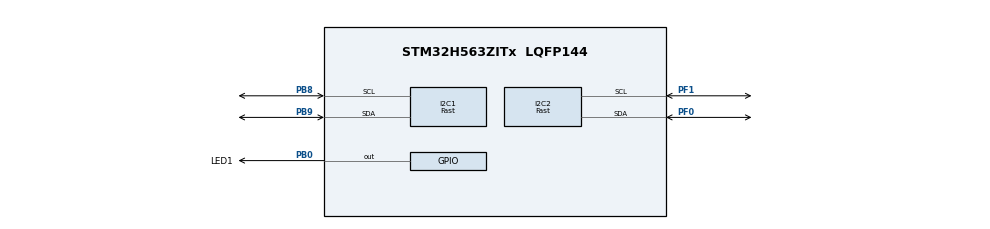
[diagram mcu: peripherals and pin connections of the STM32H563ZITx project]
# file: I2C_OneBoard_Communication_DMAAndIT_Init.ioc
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CORTEX_M33_NS.userName=CORTEX_M33
GPDMA1.CIRCULARMODE_GPDMACH0=DISABLE
GPDMA1.DESTINC_GPDMACH0=DMA_DINC_FIXED
GPDMA1.DIRECTION_GPDMACH0=DMA_MEMORY_TO_PERIPH
GPDMA1.IPHANDLE_GPDMACH0-SIMPLEREQUEST_GPDMACH0=__NULL
GPDMA1.LINKALLOCATEDPORT_CIRCULAR_GPDMACH0=DMA_LINK_ALLOCATED_PORT0
GPDMA1.PRIORITY_GPDMACH0=DMA_LOW_PRIORITY_LOW_WEIGHT
GPDMA1.REQUEST_GPDMACH0=GPDMA1_REQUEST_I2C2_TX
GPDMA1.SRCINC_GPDMACH0=DMA_SINC_INCREMENTED
I2C1.AddressingMode=I2C_ADDRESSINGMODE_7BIT
I2C1.Analog_Filter=I2C_ANALOGFILTER_ENABLE
I2C1.DualAddressMode=I2C_DUALADDRESS_DISABLE
I2C1.GeneralCallMode=I2C_GENERALCALL_DISABLE
I2C1.I2C_Coeff_DF=0x0
I2C1.I2C_Fall_Time=10
I2C1.I2C_Rise_Time=100
I2C1.I2C_Speed_Mode=I2C_Fast
I2C1.NoStretchMode=I2C_NOSTRETCH_DISABLE
I2C1.OwnAddress=0x5a
I2C1.Speed=400
I2C1.Timing=0x20F02C88
I2C2.AddressingMode=I2C_ADDRESSINGMODE_7BIT
I2C2.Analog_Filter=I2C_ANALOGFILTER_ENABLE
I2C2.DualAddressMode=I2C_DUALADDRESS_DISABLE
I2C2.GeneralCallMode=I2C_GENERALCALL_DISABLE
I2C2.I2C_Coeff_DF=0
I2C2.I2C_Fall_Time=10
I2C2.I2C_Rise_Time=100
I2C2.I2C_Speed_Mode=I2C_Fast
I2C2.NoStretchMode=I2C_NOSTRETCH_DISABLE
I2C2.OwnAddress=0
I2C2.Speed=400
I2C2.Timing=0x20F02C88
Mcu.Family=STM32H5
Mcu.Name=STM32H563ZITx
Mcu.Package=LQFP144
NVIC.GPDMA1_Channel0_IRQn=true\:0\:0\:false\:false\:true\:false\:true\:true
NVIC.PriorityGroup=NVIC_PRIORITYGROUP_4
PB0.GPIO_Label=LED1
PB0.Signal=GPIO_Output
PB8.GPIO_Pu=GPIO_PULLUP
PB8.GPIO_Speed=GPIO_SPEED_FREQ_HIGH
PB8.Mode=I2C
PB8.Signal=I2C1_SCL
PB9.GPIO_Pu=GPIO_PULLUP
PB9.GPIO_Speed=GPIO_SPEED_FREQ_HIGH
PB9.Mode=I2C
PB9.Signal=I2C1_SDA
PF0.GPIO_Pu=GPIO_PULLUP
PF0.GPIO_Speed=GPIO_SPEED_FREQ_HIGH
PF0.Mode=I2C
PF0.Signal=I2C2_SDA
PF1.GPIO_Pu=GPIO_PULLUP
PF1.GPIO_Speed=GPIO_SPEED_FREQ_HIGH
PF1.Mode=I2C
PF1.Signal=I2C2_SCL
PH0-OSC_IN(PH0).Mode=HSE-DIG-External-Clock-Source
PH0-OSC_IN(PH0).Signal=RCC_OSC_IN
ProjectManager.HeapSize=0x200
ProjectManager.StackSize=0x400
ProjectManager.TargetToolchain=EWARM V9.20
RCC.ADCFreq_Value=250000000
RCC.AHBFreq_Value=250000000
RCC.APB1Freq_Value=250000000
RCC.APB1TimFreq_Value=250000000
RCC.APB2Freq_Value=250000000
RCC.APB2TimFreq_Value=250000000
RCC.APB3Freq_Value=250000000
RCC.CSI_VALUE=4000000
RCC.CortexFreq_Value=250000000
RCC.EPOD_VALUE=8000000
RCC.HCLKFreq_Value=250000000
RCC.HSE_VALUE=8000000
RCC.HSI48_VALUE=48000000
RCC.HSIDiv=RCC_HSI_DIV1
RCC.HSI_VALUE=64000000
RCC.LSE_VALUE=32768
RCC.LSIRC_VALUE=32000
RCC.PLLM=4
RCC.PLLN=250
RCC.PLLSourceVirtual=RCC_PLL1_SOURCE_HSE
RCC.SYSCLKFreq_VALUE=250000000
RCC.SYSCLKSource=RCC_SYSCLKSOURCE_PLLCLK
RCC.USBFreq_Value=48000000
RCC.VCOOutputFreq_Value=500000000
VP_GPDMA1_VS_GPDMACH0.Mode=SIMPLEREQUEST_GPDMACH0
VP_ICACHE_VS_ICACHE.Mode=DefaultMode
VP_PWR_VS_SECSignals.Mode=Security/Privilege
board=custom

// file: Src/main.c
/* USER CODE BEGIN Header */
/**
  ******************************************************************************
  * @file    Examples_LL/I2C/I2C_OneBoard_Communication_DMAAndIT_Init/Src/main.c
  * @author  MCD Application Team
  * @brief   This example describes how to send/receive bytes over I2C IP using
  *          the STM32H5xx I2C LL API.
  *          Peripheral initialization done using LL unitary services functions.
  ******************************************************************************
  * @attention
  *
  * Copyright (c) 2023 STMicroelectronics.
  * All rights reserved.
  *
  * This software is licensed under terms that can be found in the LICENSE file
  * in the root directory of this software component.
  * If no LICENSE file comes with this software, it is provided AS-IS.
  *
  ******************************************************************************
  */
/* USER CODE END Header */
#include "main.h"

/* USER CODE BEGIN PD */
/**
  * @brief Timeout value
  */
#if (USE_TIMEOUT == 1)
#define DMA_SEND_TIMEOUT_TC_MS         5
#define I2C_SEND_TIMEOUT_STOP_MS       5
#endif /* USE_TIMEOUT */

/**
  * @brief I2C devices settings
  */
/* Timing register value is computed with the STM32CubeMX Tool,
  * Fast Mode @400kHz with I2CCLK = 250 MHz,
  * rise time = 100ns, fall time = 10ns
  * Timing Value = (uint32_t)0x20F02C88
  */
#define I2C_TIMING                     0x20F02C88

/* USER CODE END PD */

/* USER CODE BEGIN PV */
#if (USE_TIMEOUT == 1)
uint32_t Timeout                       = 0; /* Variable used for Timeout management */
#endif /* USE_TIMEOUT */
__IO uint8_t ubButtonPress             = 0;

/**
  * @brief Variables related to MasterTransmit process
  */
const uint8_t aLedOn[]                 = "LED ON";
__IO uint8_t  ubNbDataToTransmit       = sizeof(aLedOn);
uint8_t      *pTransmitBuffer          = (uint8_t *)aLedOn;
__IO uint8_t  ubTransferComplete       = 0;

/**
  * @brief Variables related to SlaveReceive process
  */
uint8_t      aReceiveBuffer[0xF]       = {0};
__IO uint8_t ubReceiveIndex            = 0;

/* USER CODE END PV */

void SystemClock_Config(void);
static void MX_GPIO_Init(void);
static void MX_GPDMA1_Init(void);
static void MX_I2C1_Init(void);
static void MX_I2C2_Init(void);
static void MX_ICACHE_Init(void);
/* USER CODE BEGIN PFP */
void     SystemClock_Config(void);
uint8_t  Buffercmp8(uint8_t *pBuffer1, uint8_t *pBuffer2, uint8_t BufferLength);
void     UserButton_Init(void);
void     LED_On(void);
void     LED_Off(void);
void     LED_Blinking(uint32_t Period);
void     WaitForUserButtonPress(void);
void     Handle_I2C_Master(void);

/* USER CODE END PFP */

int main(void)
{

  /* MCU Configuration--------------------------------------------------------*/

  /* Reset of all peripherals, Initializes the Flash interface and the Systick. */

  /* System interrupt init*/
  NVIC_SetPriorityGrouping(NVIC_PRIORITYGROUP_4);

  /* Configure the system clock */
  SystemClock_Config();

  /* Initialize all configured peripherals */
  MX_GPIO_Init();
  MX_GPDMA1_Init();
  MX_I2C1_Init();
  MX_I2C2_Init();
  MX_ICACHE_Init();
  /* USER CODE BEGIN 2 */
  UserButton_Init();
  /* Set LED1 Off */
  LED_Off();;

  /* Wait for USER push-button press to start transfer */
  WaitForUserButtonPress();

  /* Handle I2C2 events (Master) */
  Handle_I2C_Master();
  /* USER CODE END 2 */

  /* Infinite loop */
  while (1)
  {

  }
}

void SystemClock_Config(void)
{
  LL_FLASH_SetLatency(LL_FLASH_LATENCY_5);
  while(LL_FLASH_GetLatency()!= LL_FLASH_LATENCY_5)
  {
  }

  LL_PWR_SetRegulVoltageScaling(LL_PWR_REGU_VOLTAGE_SCALE0);
  while (LL_PWR_IsActiveFlag_VOS() == 0)
  {
  }
  LL_RCC_HSE_EnableBypass();
  LL_RCC_HSE_SetExternalClockType(LL_RCC_HSE_DIGITAL_TYPE);
  LL_RCC_HSE_Enable();

   /* Wait till HSE is ready */
  while(LL_RCC_HSE_IsReady() != 1)
  {
  }

  LL_RCC_PLL1_SetSource(LL_RCC_PLL1SOURCE_HSE);
  LL_RCC_PLL1_SetVCOInputRange(LL_RCC_PLLINPUTRANGE_2_4);
  LL_RCC_PLL1_SetVCOOutputRange(LL_RCC_PLLVCORANGE_WIDE);
  LL_RCC_PLL1_SetM(4);
  LL_RCC_PLL1_SetN(250);
  LL_RCC_PLL1_SetP(2);
  LL_RCC_PLL1_SetQ(2);
  LL_RCC_PLL1_SetR(2);
  LL_RCC_PLL1P_Enable();
  LL_RCC_PLL1_Enable();

   /* Wait till PLL is ready */
  while(LL_RCC_PLL1_IsReady() != 1)
  {
  }

  LL_RCC_SetSysClkSource(LL_RCC_SYS_CLKSOURCE_PLL1);

   /* Wait till System clock is ready */
  while(LL_RCC_GetSysClkSource() != LL_RCC_SYS_CLKSOURCE_STATUS_PLL1)
  {
  }

  LL_RCC_SetAHBPrescaler(LL_RCC_SYSCLK_DIV_1);
  LL_RCC_SetAPB1Prescaler(LL_RCC_APB1_DIV_1);
  LL_RCC_SetAPB2Prescaler(LL_RCC_APB2_DIV_1);
  LL_RCC_SetAPB3Prescaler(LL_RCC_APB3_DIV_1);

  LL_Init1msTick(250000000);

  LL_SetSystemCoreClock(250000000);
}

static void MX_GPDMA1_Init(void)
{

  /* Peripheral clock enable */
  LL_AHB1_GRP1_EnableClock(LL_AHB1_GRP1_PERIPH_GPDMA1);

  /* GPDMA1 interrupt Init */
  NVIC_SetPriority(GPDMA1_Channel0_IRQn, NVIC_EncodePriority(NVIC_GetPriorityGrouping(),0, 0));
  NVIC_EnableIRQ(GPDMA1_Channel0_IRQn);

}

static void MX_I2C1_Init(void)
{

  LL_I2C_InitTypeDef I2C_InitStruct = {0};

  LL_GPIO_InitTypeDef GPIO_InitStruct = {0};

  LL_RCC_SetI2CClockSource(LL_RCC_I2C1_CLKSOURCE_PCLK1);

  LL_AHB2_GRP1_EnableClock(LL_AHB2_GRP1_PERIPH_GPIOB);
  /**I2C1 GPIO Configuration
  PB8   ------> I2C1_SCL
  PB9   ------> I2C1_SDA
  */
  GPIO_InitStruct.Pin = LL_GPIO_PIN_8|LL_GPIO_PIN_9;
  GPIO_InitStruct.Mode = LL_GPIO_MODE_ALTERNATE;
  GPIO_InitStruct.Speed = LL_GPIO_SPEED_FREQ_HIGH;
  GPIO_InitStruct.OutputType = LL_GPIO_OUTPUT_OPENDRAIN;
  GPIO_InitStruct.Pull = LL_GPIO_PULL_UP;
  GPIO_InitStruct.Alternate = LL_GPIO_AF_4;
  LL_GPIO_Init(GPIOB, &GPIO_InitStruct);

  /* Peripheral clock enable */
  LL_APB1_GRP1_EnableClock(LL_APB1_GRP1_PERIPH_I2C1);

  /* USER CODE BEGIN I2C1_Init 1 */
  NVIC_SetPriority(I2C1_EV_IRQn, 0);
  NVIC_EnableIRQ(I2C1_EV_IRQn);
  NVIC_SetPriority(I2C1_ER_IRQn, 0);
  NVIC_EnableIRQ(I2C1_ER_IRQn);
  /* USER CODE END I2C1_Init 1 */

  /** I2C Initialization
  */
  LL_I2C_EnableAutoEndMode(I2C1);
  LL_I2C_DisableOwnAddress2(I2C1);
  LL_I2C_DisableGeneralCall(I2C1);
  LL_I2C_EnableClockStretching(I2C1);
  I2C_InitStruct.PeripheralMode = LL_I2C_MODE_I2C;
  I2C_InitStruct.Timing = 0x20F02C88;
  I2C_InitStruct.AnalogFilter = LL_I2C_ANALOGFILTER_ENABLE;
  I2C_InitStruct.DigitalFilter = 0x0;
  I2C_InitStruct.OwnAddress1 = 180;
  I2C_InitStruct.TypeAcknowledge = LL_I2C_ACK;
  I2C_InitStruct.OwnAddrSize = LL_I2C_OWNADDRESS1_7BIT;
  LL_I2C_Init(I2C1, &I2C_InitStruct);
  LL_I2C_SetOwnAddress2(I2C1, 0, LL_I2C_OWNADDRESS2_NOMASK);
  /* USER CODE BEGIN I2C1_Init 2 */
  LL_I2C_EnableIT_ADDR(I2C1);
  LL_I2C_EnableIT_NACK(I2C1);
  LL_I2C_EnableIT_ERR(I2C1);
  LL_I2C_EnableIT_STOP(I2C1);
  /* USER CODE END I2C1_Init 2 */

}

static void MX_I2C2_Init(void)
{

  LL_I2C_InitTypeDef I2C_InitStruct = {0};

  LL_GPIO_InitTypeDef GPIO_InitStruct = {0};
  LL_DMA_InitTypeDef DMA_InitStruct = {0};

  LL_RCC_SetI2CClockSource(LL_RCC_I2C2_CLKSOURCE_PCLK1);

  LL_AHB2_GRP1_EnableClock(LL_AHB2_GRP1_PERIPH_GPIOF);
  /**I2C2 GPIO Configuration
  PF0   ------> I2C2_SDA
  PF1   ------> I2C2_SCL
  */
  GPIO_InitStruct.Pin = LL_GPIO_PIN_0|LL_GPIO_PIN_1;
  GPIO_InitStruct.Mode = LL_GPIO_MODE_ALTERNATE;
  GPIO_InitStruct.Speed = LL_GPIO_SPEED_FREQ_HIGH;
  GPIO_InitStruct.OutputType = LL_GPIO_OUTPUT_OPENDRAIN;
  GPIO_InitStruct.Pull = LL_GPIO_PULL_UP;
  GPIO_InitStruct.Alternate = LL_GPIO_AF_4;
  LL_GPIO_Init(GPIOF, &GPIO_InitStruct);

  /* Peripheral clock enable */
  LL_APB1_GRP1_EnableClock(LL_APB1_GRP1_PERIPH_I2C2);

  /* I2C2 DMA Init */

  /* GPDMA1_REQUEST_I2C2_TX Init */
  DMA_InitStruct.SrcAddress = 0x00000000U;
  DMA_InitStruct.DestAddress = 0x00000000U;
  DMA_InitStruct.Direction = LL_DMA_DIRECTION_MEMORY_TO_PERIPH;
  DMA_InitStruct.BlkHWRequest = LL_DMA_HWREQUEST_SINGLEBURST;
  DMA_InitStruct.DataAlignment = LL_DMA_DATA_ALIGN_ZEROPADD;
  DMA_InitStruct.SrcBurstLength = 1;
  DMA_InitStruct.DestBurstLength = 1;
  DMA_InitStruct.SrcDataWidth = LL_DMA_SRC_DATAWIDTH_BYTE;
  DMA_InitStruct.DestDataWidth = LL_DMA_DEST_DATAWIDTH_BYTE;
  DMA_InitStruct.SrcIncMode = LL_DMA_SRC_INCREMENT;
  DMA_InitStruct.DestIncMode = LL_DMA_DEST_FIXED;
  DMA_InitStruct.Priority = LL_DMA_LOW_PRIORITY_LOW_WEIGHT;
  DMA_InitStruct.BlkDataLength = 0x00000000U;
  DMA_InitStruct.TriggerMode = LL_DMA_TRIGM_BLK_TRANSFER;
  DMA_InitStruct.TriggerPolarity = LL_DMA_TRIG_POLARITY_MASKED;
  DMA_InitStruct.TriggerSelection = 0x00000000U;
  DMA_InitStruct.Request = LL_GPDMA1_REQUEST_I2C2_TX;
  DMA_InitStruct.TransferEventMode = LL_DMA_TCEM_BLK_TRANSFER;
  DMA_InitStruct.Mode = LL_DMA_NORMAL;
  DMA_InitStruct.SrcAllocatedPort = LL_DMA_SRC_ALLOCATED_PORT0;
  DMA_InitStruct.DestAllocatedPort = LL_DMA_DEST_ALLOCATED_PORT0;
  DMA_InitStruct.LinkAllocatedPort = LL_DMA_LINK_ALLOCATED_PORT1;
  DMA_InitStruct.LinkStepMode = LL_DMA_LSM_FULL_EXECUTION;
  DMA_InitStruct.LinkedListBaseAddr = 0x00000000U;
  DMA_InitStruct.LinkedListAddrOffset = 0x00000000U;
  LL_DMA_Init(GPDMA1, LL_DMA_CHANNEL_0, &DMA_InitStruct);

  /* USER CODE BEGIN I2C2_Init 1 */
  LL_DMA_SetBlkDataLength(GPDMA1, LL_DMA_CHANNEL_0, ubNbDataToTransmit);
  LL_DMA_ConfigAddresses(GPDMA1, LL_DMA_CHANNEL_0, (uint32_t)pTransmitBuffer, (uint32_t)LL_I2C_DMA_GetRegAddr(I2C2, LL_I2C_DMA_REG_DATA_TRANSMIT));
  /* (4) Enable GPDMA1 interrupts complete/error */
  LL_DMA_EnableIT_TC(GPDMA1, LL_DMA_CHANNEL_0);
  LL_DMA_EnableIT_DTE(GPDMA1, LL_DMA_CHANNEL_0);
  /* USER CODE END I2C2_Init 1 */

  /** I2C Initialization
  */
  LL_I2C_EnableAutoEndMode(I2C2);
  LL_I2C_DisableOwnAddress2(I2C2);
  LL_I2C_DisableGeneralCall(I2C2);
  LL_I2C_EnableClockStretching(I2C2);
  I2C_InitStruct.PeripheralMode = LL_I2C_MODE_I2C;
  I2C_InitStruct.Timing = 0x20F02C88;
  I2C_InitStruct.AnalogFilter = LL_I2C_ANALOGFILTER_ENABLE;
  I2C_InitStruct.DigitalFilter = 0;
  I2C_InitStruct.OwnAddress1 = 0;
  I2C_InitStruct.TypeAcknowledge = LL_I2C_ACK;
  I2C_InitStruct.OwnAddrSize = LL_I2C_OWNADDRESS1_7BIT;
  LL_I2C_Init(I2C2, &I2C_InitStruct);
  LL_I2C_SetOwnAddress2(I2C2, 0, LL_I2C_OWNADDRESS2_NOMASK);
  /* USER CODE BEGIN I2C2_Init 2 */
  LL_I2C_EnableDMAReq_TX(I2C2);
  LL_I2C_Enable(I2C2);
  /* USER CODE END I2C2_Init 2 */

}

static void MX_ICACHE_Init(void)
{

  /** Enable instruction cache (default 2-ways set associative cache)
  */
  LL_ICACHE_Enable();

}

static void MX_GPIO_Init(void)
{
  LL_GPIO_InitTypeDef GPIO_InitStruct = {0};

  /* GPIO Ports Clock Enable */
  LL_AHB2_GRP1_EnableClock(LL_AHB2_GRP1_PERIPH_GPIOF);
  LL_AHB2_GRP1_EnableClock(LL_AHB2_GRP1_PERIPH_GPIOH);
  LL_AHB2_GRP1_EnableClock(LL_AHB2_GRP1_PERIPH_GPIOB);

  /**/
  LL_GPIO_ResetOutputPin(LED1_GPIO_Port, LED1_Pin);

  /**/
  GPIO_InitStruct.Pin = LED1_Pin;
  GPIO_InitStruct.Mode = LL_GPIO_MODE_OUTPUT;
  GPIO_InitStruct.Speed = LL_GPIO_SPEED_FREQ_LOW;
  GPIO_InitStruct.OutputType = LL_GPIO_OUTPUT_PUSHPULL;
  GPIO_InitStruct.Pull = LL_GPIO_PULL_NO;
  LL_GPIO_Init(LED1_GPIO_Port, &GPIO_InitStruct);

}

/* USER CODE BEGIN 4 */
/**
  * @brief  Compares two 8-bit buffers and returns the comparison result.
  * @param  pBuffer1: pointer to the source buffer to be compared to.
  * @param  pBuffer2: pointer to the second source buffer to be compared to the first.
  * @param  BufferLength: buffer's length.
  * @retval 0: Comparison is OK (the two Buffers are identical)
  *         Value different from 0: Comparison is NOK (Buffers are different)
  */
uint8_t Buffercmp8(uint8_t *pBuffer1, uint8_t *pBuffer2, uint8_t BufferLength)
{
  while (BufferLength--)
  {
    if (*pBuffer1 != *pBuffer2)
    {
      return 1;
    }

    pBuffer1++;
    pBuffer2++;
  }

  return 0;
}

/**
  * @brief  Turn-on LED1.
  * @param  None
  * @retval None
  */
void LED_On(void)
{
  /* Turn LED1 on */
  LL_GPIO_SetOutputPin(LED1_GPIO_Port, LED1_Pin);
}

/**
  * @brief  Turn-off LED1.
  * @param  None
  * @retval None
  */
void LED_Off(void)
{
  /* Turn LED1 off */
  LL_GPIO_ResetOutputPin(LED1_GPIO_Port, LED1_Pin);
}

/**
  * @brief  Set LED1 to Blinking mode for an infinite loop (toggle period based on value provided as input parameter).
  * @param  Period : Period of time (in ms) between each toggling of LED
  *   This parameter can be user defined values. Pre-defined values used in that example are :
  *     @arg LED_BLINK_FAST : Fast Blinking
  *     @arg LED_BLINK_SLOW : Slow Blinking
  *     @arg LED_BLINK_ERROR : Error specific Blinking
  * @retval None
  */
void LED_Blinking(uint32_t Period)
{
  /* Turn LED1 on */
  LL_GPIO_SetOutputPin(LED1_GPIO_Port, LED1_Pin);

  /* Toggle IO in an infinite loop */
  while (1)
  {
    LL_GPIO_TogglePin(LED1_GPIO_Port, LED1_Pin);
    LL_mDelay(Period);
  }
}
/**
  * @brief  Configures USER push-button in GPIO or EXTI Line Mode.
  * @param  None
  * @retval None
  */
void UserButton_Init(void)
{
  /* Enable the BUTTON Clock */
  USER_BUTTON_GPIO_CLK_ENABLE();

  /* Configure GPIO for BUTTON */
  LL_GPIO_SetPinMode(USER_BUTTON_GPIO_PORT, USER_BUTTON_PIN, LL_GPIO_MODE_INPUT);
  LL_GPIO_SetPinPull(USER_BUTTON_GPIO_PORT, USER_BUTTON_PIN, LL_GPIO_PULL_NO);

  /* Connect External Line to the GPIO*/
  USER_BUTTON_SYSCFG_SET_EXTI();

  /* Enable a Rising trigger External line 13 Interrupt */
  USER_BUTTON_EXTI_LINE_ENABLE();
  USER_BUTTON_EXTI_RISING_TRIG_ENABLE();

  /* Configure NVIC for USER_BUTTON_EXTI_IRQn */
  NVIC_SetPriority(USER_BUTTON_EXTI_IRQn, 3);
  NVIC_EnableIRQ(USER_BUTTON_EXTI_IRQn);
}
/**
  * @brief  Wait for USER push-button press to start transfer.
  * @param  None
  * @retval None
  */
/*  */
void WaitForUserButtonPress(void)
{
  while (ubButtonPress == 0)
  {
    LL_GPIO_TogglePin(LED1_GPIO_Port, LED1_Pin);
    LL_mDelay(LED_BLINK_FAST);
  }
  /* Turn LED1 off */
  LL_GPIO_ResetOutputPin(LED1_GPIO_Port, LED1_Pin);
}

/**
  * @brief  This Function handle Master events to perform a transmission process
  * @note  This function is composed in different steps :
  *        -1- Enable DMA transfer.
  *        -2- Initiate a Start condition to the Slave device.
  *        -3- Loop until end of DMA transfer completed (DMA TC raised).
  *        -4- Loop until end of master transfer completed (STOP flag raised).
  *        -5- Clear pending flags, Data consistency are checking into Slave process.
  * @param  None
  * @retval None
  */
void Handle_I2C_Master(void)
{
  /* (1) Enable DMA transfer **************************************************/
  LL_DMA_EnableChannel(GPDMA1, LL_DMA_CHANNEL_0);
  /* (2) Initiate a Start condition to the Slave device ***********************/

  /* Master Generate Start condition for a write request:
   *  - to the Slave with a 7-Bit SLAVE_OWN_ADDRESS
   *  - with a auto stop condition generation when transmit all bytes
   */
  LL_I2C_HandleTransfer(I2C2, SLAVE_OWN_ADDRESS, LL_I2C_ADDRSLAVE_7BIT, ubNbDataToTransmit, LL_I2C_MODE_AUTOEND, LL_I2C_GENERATE_START_WRITE);

  /* (3) Loop until end of transfer completed (DMA TC raised) *****************/

#if (USE_TIMEOUT == 1)
  Timeout = DMA_SEND_TIMEOUT_TC_MS;
#endif /* USE_TIMEOUT */

  /* Loop until DMA transfer complete event */
  while (!ubTransferComplete)
  {
#if (USE_TIMEOUT == 1)
    /* Check Systick counter flag to decrement the time-out value */
    if (LL_SYSTICK_IsActiveCounterFlag())
    {
      if (Timeout-- == 0)
      {
        /* Time-out occurred. Set LED to blinking mode */
        LED_Blinking(LED_BLINK_SLOW);
      }
    }
#endif /* USE_TIMEOUT */
  }

  /* (4) Loop until end of master transfer completed (STOP flag raised) *******/

#if (USE_TIMEOUT == 1)
  Timeout = I2C_SEND_TIMEOUT_STOP_MS;
#endif /* USE_TIMEOUT */

  /* Loop until STOP flag is raised  */
  while (!LL_I2C_IsActiveFlag_STOP(I2C2))
  {
#if (USE_TIMEOUT == 1)
    /* Check Systick counter flag to decrement the time-out value */
    if (LL_SYSTICK_IsActiveCounterFlag())
    {
      if (Timeout-- == 0)
      {
        /* Time-out occurred. Set LED1 to blinking mode */
        LED_Blinking(LED_BLINK_SLOW);
      }
    }
#endif /* USE_TIMEOUT */
  }

  /* (5) Clear pending flags, Data consistency are checking into Slave process */

  /* End of I2C_SlaveReceiver_MasterTransmitter_DMA Process */
  LL_I2C_ClearFlag_STOP(I2C2);
}

/******************************************************************************/
/*   IRQ HANDLER TREATMENT Functions                                          */
/******************************************************************************/
/**
  * @brief  Function to manage USER push-button
  * @param  None
  * @retval None
  */
void UserButton_Callback(void)
{
  /* Update USER push-button variable : to be checked in waiting loop in main program */
  ubButtonPress = 1;
}

/**
  * @brief  Function called from I2C IRQ Handler when RXNE flag is set
  *         Function is in charge of retrieving received byte on I2C lines.
  * @param  None
  * @retval None
  */
void Slave_Reception_Callback(void)
{
  /* Read character in Receive Data register.
  RXNE flag is cleared by reading data in RXDR register */
  aReceiveBuffer[ubReceiveIndex++] = LL_I2C_ReceiveData8(I2C1);
}

/**
  * @brief  Function called from I2C IRQ Handler when STOP flag is set
  *         Function is in charge of checking data received,
  *         LED1 is On if data are correct.
  * @param  None
  * @retval None
  */
void Slave_Complete_Callback(void)
{
  /* Check if data request to turn on the LED1 */
  if (Buffercmp8((uint8_t *)aReceiveBuffer, (uint8_t *)aLedOn, (ubReceiveIndex - 1)) == 0)
  {
    /* Turn LED1 On:
     *  - Expected bytes have been received
     *  - Slave Rx sequence completed successfully
     */
    LED_On();
  }
  else
  {
    /* Call Error function */
    Error_Callback();
  }
}

/**
  * @brief  DMA transfer complete callback
  * @note   This function is executed when the transfer complete interrupt
  *         is generated
  * @retval None
  */
void Transfer_Complete_Callback()
{
  /* DMA transfer completed */
  ubTransferComplete = 1;
}

/**
  * @brief  DMA transfer error callback
  * @note   This function is executed when the transfer error interrupt
  *         is generated during DMA transfer
  * @retval None
  */
void Transfer_Error_Callback()
{
  /* Disable GPDMA1_Channel0_IRQn */
  NVIC_DisableIRQ(GPDMA1_Channel0_IRQn);

  /* Error detected during DMA transfer */
  LED_Blinking(LED_BLINK_ERROR);
}

/**
  * @brief  Function called in case of error detected in I2C IT Handler
  * @param  None
  * @retval None
  */
void Error_Callback(void)
{
  /* Disable I2C1_EV_IRQn */
  NVIC_DisableIRQ(I2C1_EV_IRQn);

  /* Disable I2C1_ER_IRQn */
  NVIC_DisableIRQ(I2C1_ER_IRQn);

  /* Unexpected event : Set LED1 to Blinking mode to indicate error occurs */
  LED_Blinking(LED_BLINK_ERROR);
}
/* USER CODE END 4 */

void Error_Handler(void)
{
}
